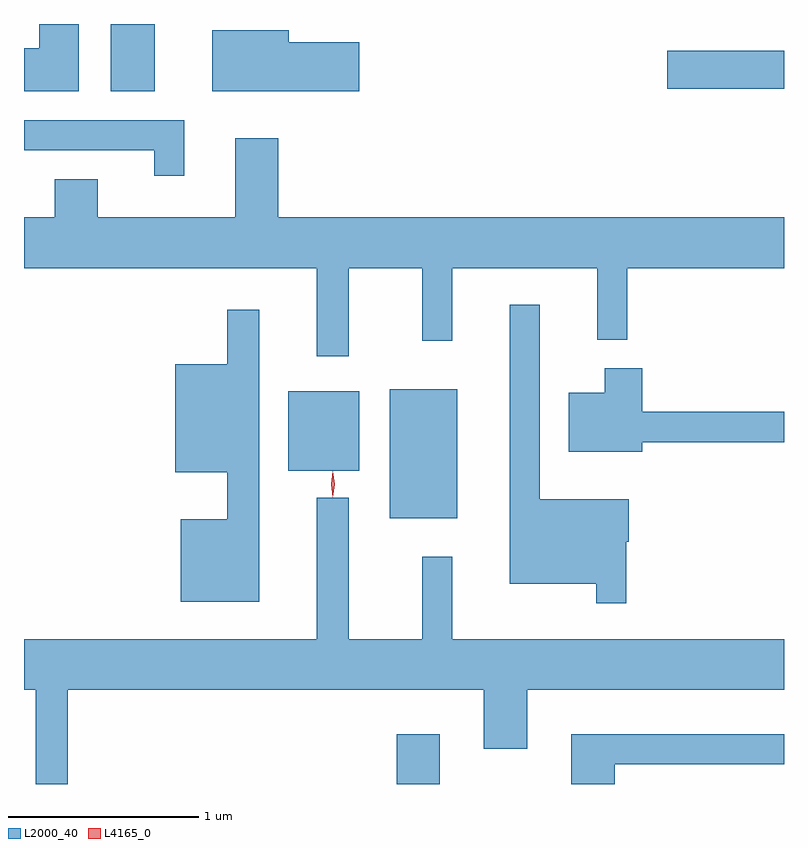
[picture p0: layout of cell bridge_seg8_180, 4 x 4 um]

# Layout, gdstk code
import gdstk
lib = gdstk.Library(unit=1e-6, precision=1e-09)
def R(c, l, rs):  # rectangles x0, y0, x1, y1
    for r in rs: c.add(gdstk.rectangle(r[:2], r[2:], *l))
def P(c, l, *ps):  # polygons
    for p in ps: c.add(gdstk.Polygon(p, *l))
L2000_40 = (2000, 40)
L4165_0 = (4165, 0)

bridge_seg8_180 = lib.new_cell('bridge_seg8_180')
R(bridge_seg8_180, L2000_40, [(1121.081,1909.181,1121.309,1909.444), (1121.046,1910.581,1121.399,1911.259), (1120.511,1910.831,1120.884,1911.249), (1119.576,1912.826,1119.809,1913.181), (1122.506,1912.841,1123.12,1913.039)])
P(bridge_seg8_180, L2000_40, [(1119.409,1913.181),(1119.201,1913.181),(1119.201,1913.054),(1119.12,1913.054),(1119.12,1912.826),(1119.409,1912.826)],
  [(1120.884,1913.084),(1120.514,1913.084),(1120.514,1913.149),(1120.111,1913.149),(1120.111,1912.826),(1120.884,1912.826)],
  [(1119.964,1912.674),(1119.12,1912.674),(1119.12,1912.516),(1119.806,1912.516),(1119.806,1912.383),(1119.964,1912.383)],
  [(1120.829,1911.896),(1121.216,1911.896),(1121.216,1911.513),(1121.374,1911.513),(1121.374,1911.896),(1122.136,1911.896),(1122.136,1911.518),(1122.294,1911.518),(1122.294,1911.896),(1123.12,1911.896),(1123.12,1912.164),(1120.459,1912.164),(1120.459,1912.579),(1120.231,1912.579),(1120.231,1912.164),(1119.509,1912.164),(1119.509,1912.364),(1119.281,1912.364),(1119.281,1912.164),(1119.12,1912.164),(1119.12,1911.896),(1120.661,1911.896),(1120.661,1911.433),(1120.829,1911.433)],
  [(1122.289,1910.455),(1122.304,1910.455),(1122.304,1910.679),(1121.834,1910.679),(1121.834,1911.703),(1121.676,1911.703),(1121.676,1910.236),(1122.131,1910.236),(1122.131,1910.133),(1122.289,1910.133)],
  [(1120.359,1911.678),(1120.191,1911.678),(1120.191,1911.389),(1119.916,1911.389),(1119.916,1910.821),(1120.191,1910.821),(1120.191,1910.574),(1119.946,1910.574),(1119.946,1910.141),(1120.359,1910.141)],
  [(1122.374,1910.981),(1123.12,1910.981),(1123.12,1911.139),(1122.374,1911.139),(1122.374,1911.369),(1122.176,1911.369),(1122.176,1911.239),(1121.986,1911.239),(1121.986,1910.931),(1122.374,1910.931)],
  [(1119.349,1909.676),(1121.541,1909.676),(1121.541,1909.366),(1121.769,1909.366),(1121.769,1909.676),(1123.12,1909.676),(1123.12,1909.944),(1121.374,1909.944),(1121.374,1910.378),(1121.216,1910.378),(1121.216,1909.944),(1120.829,1909.944),(1120.829,1910.688),(1120.661,1910.688),(1120.661,1909.944),(1119.12,1909.944),(1119.12,1909.676),(1119.181,1909.676),(1119.181,1909.181),(1119.349,1909.181)],
  [(1122.229,1909.286),(1123.12,1909.286),(1123.12,1909.444),(1122.001,1909.444),(1122.001,1909.181),(1122.229,1909.181)])
P(bridge_seg8_180, L4165_0, [(1120.745,1910.693),(1120.736,1910.757),(1120.745,1910.821),(1120.746,1910.822),(1120.746,1910.821),(1120.756,1910.757),(1120.746,1910.693),(1120.746,1910.693)],
  [(1120.746,1910.689),(1120.745,1910.69),(1120.736,1910.758),(1120.745,1910.826),(1120.746,1910.826),(1120.746,1910.826),(1120.756,1910.758),(1120.746,1910.69)])

lib.write_gds('bridge_seg8_180.gds')
